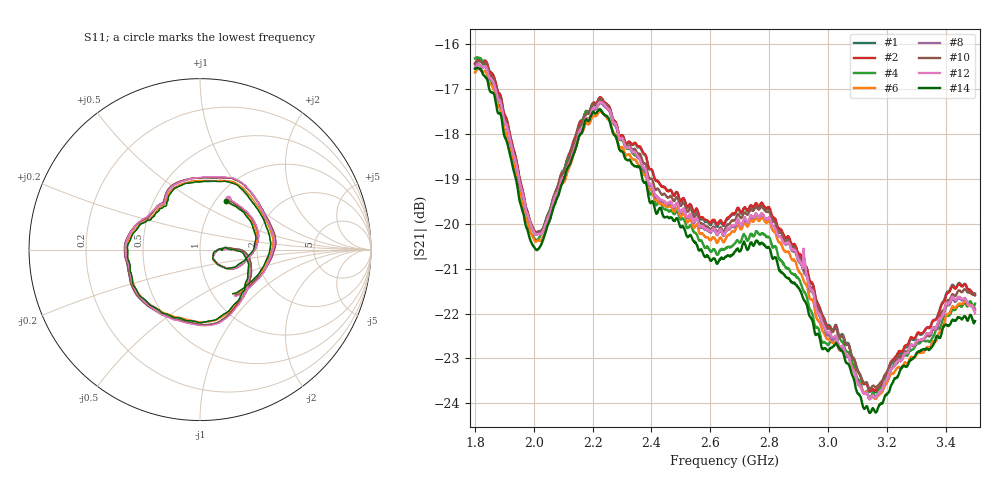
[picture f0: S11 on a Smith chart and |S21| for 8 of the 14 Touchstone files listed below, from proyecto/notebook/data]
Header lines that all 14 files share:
! Created with skrf 1.9.0 (http://scikit-rf.org).
# Hz S RI R 50.0
!freq ReS11 ImS11 ReS21 ImS21 ReS12 ImS12 ReS22 ImS22
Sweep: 1.8 GHz to 3.5 GHz
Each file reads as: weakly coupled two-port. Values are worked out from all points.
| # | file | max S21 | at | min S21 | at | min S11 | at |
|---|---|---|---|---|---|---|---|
| 1 | A28_D08_B2_O000_corrected.s2p | -16.34 dB | 1.811 GHz | -23.8 dB | 3.162 GHz | -21.4 dB | 2.09 GHz |
| 2 | A28_D08_B2_O240_corrected.s2p | -16.35 dB | 1.812 GHz | -23.7 dB | 3.144 GHz | -21.3 dB | 2.089 GHz |
| 3 | A29_D01_B2_O000_corrected.s2p | -16.30 dB | 1.807 GHz | -24.0 dB | 3.142 GHz | -21.9 dB | 2.093 GHz |
| 4 | A29_D01_B2_O120_corrected.s2p | -16.29 dB | 1.807 GHz | -23.9 dB | 3.142 GHz | -21.9 dB | 2.092 GHz |
| 5 | A29_D02_B2_O000_corrected.s2p | -16.46 dB | 1.81 GHz | -24.0 dB | 3.163 GHz | -22.0 dB | 2.091 GHz |
| 6 | A29_D04_B2_O120_corrected.s2p | -16.54 dB | 1.811 GHz | -23.9 dB | 3.142 GHz | -21.5 dB | 2.088 GHz |
| 7 | A29_D04_B2_O240_corrected.s2p | -16.60 dB | 1.812 GHz | -24.1 dB | 3.142 GHz | -21.5 dB | 2.085 GHz |
| 8 | A29_D05_B2_O240_corrected.s2p | -16.44 dB | 1.812 GHz | -23.9 dB | 3.142 GHz | -21.3 dB | 2.085 GHz |
| 9 | A29_D06_B2_O000_corrected.s2p | -16.38 dB | 1.812 GHz | -23.8 dB | 3.142 GHz | -21.3 dB | 2.087 GHz |
| 10 | A29_D06_B2_O120_corrected.s2p | -16.37 dB | 1.814 GHz | -23.7 dB | 3.142 GHz | -21.2 dB | 2.088 GHz |
| 11 | A29_D07_B2_O000_corrected.s2p | -16.41 dB | 1.812 GHz | -23.8 dB | 3.161 GHz | -21.3 dB | 2.088 GHz |
| 12 | A29_D07_B2_O240_corrected.s2p | -16.44 dB | 1.811 GHz | -23.9 dB | 3.14 GHz | -21.3 dB | 2.085 GHz |
| 13 | A30_D01_B2_O120_corrected.s2p | -16.49 dB | 1.81 GHz | -24.1 dB | 3.163 GHz | -21.8 dB | 2.095 GHz |
| 14 | A30_D01_B2_O240_corrected.s2p | -16.52 dB | 1.808 GHz | -24.2 dB | 3.142 GHz | -21.8 dB | 2.093 GHz |
